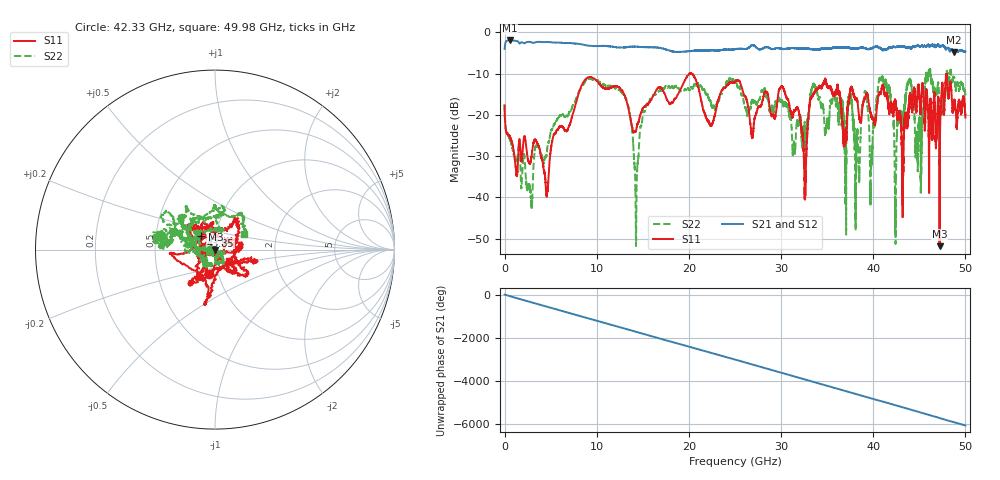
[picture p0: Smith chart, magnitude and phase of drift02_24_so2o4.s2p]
!Created with skrf (http://scikit-rf.org).
# Hz S RI R 50.0
!freq ReS11 ImS11 ReS21 ImS21 ReS12 ImS12 ReS22 ImS22
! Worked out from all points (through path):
!   10001 points, 300 kHz to 50 GHz, reference 50 ohm
!   highest |S21| = -1.99 dB at 555.3 MHz (marker M1); lowest = -4.9 dB at 48.77 GHz (marker M2)
!   group delay of S21, straight-line fit = 337 ps
!   lowest |S11| = -51.8 dB at 47.2 GHz (marker M3), VSWR 1.01, Z = 50.2 - j0.0694 ohm
!   |S11| at or under -10 dB: start of sweep to 20.06 GHz; 20.20806 GHz to 20.22053 GHz (12.47 MHz wide, 0.0617 % of centre); 20.24 GHz to end of sweep (the widest 3 of 4)
!   |S22| runs from -51.8 to -8.9 dB; largest |S21 - S12| = 0.03
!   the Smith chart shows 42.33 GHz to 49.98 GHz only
!   S11 on the Smith chart (normalised r, x): 42.33 GHz: 0.90, -0.25; 43.85 GHz: 0.84, +0.13; 49.98 GHz: 1.15, -0.15
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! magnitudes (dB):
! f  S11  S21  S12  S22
! 300 kHz  -17.8  -4.0  -4.0  -17.5
! 555.3 MHz  -25.2  -2.0  -2.0  -25.8
! 4.565 GHz  -39.9  -2.4  -2.4  -29.4
! 8.335 GHz  -13.0  -2.9  -2.9  -13.2
! 13.01 GHz  -15.3  -3.6  -3.7  -15.6
! 14.28 GHz  -23.7  -3.5  -3.5  -46.6
! 16.67 GHz  -13.4  -3.7  -3.7  -14.5
! 25 GHz  -12.1  -4.1  -4.1  -12.1
! 30.18 GHz  -13.3  -4.1  -4.1  -16.8
! 32.56 GHz  -40.4  -3.9  -3.9  -24.7
! 33.34 GHz  -15.7  -4.0  -4.1  -13.5
! 37.5 GHz  -14.4  -3.8  -3.8  -17.3
! 38.29 GHz  -16.9  -4.0  -3.9  -24.1
! 41.67 GHz  -18.6  -3.8  -3.9  -12.8
! 42.33 GHz  -17.2  -3.6  -3.6  -30.4
! 43.85 GHz  -19.1  -3.6  -3.6  -11.8
! 44.99 GHz  -14.7  -3.4  -3.3  -20.9
! 45.92 GHz  -18.7  -3.2  -3.2  -10.4
! 47.2 GHz  -51.8  -3.5  -3.4  -17.2
! 48.77 GHz  -16.8  -4.9  -4.8  -10.9
! 49.98 GHz  -20.0  -4.6  -4.6  -14.6
! 50 GHz  -20.7  -4.7  -4.6  -15.0
